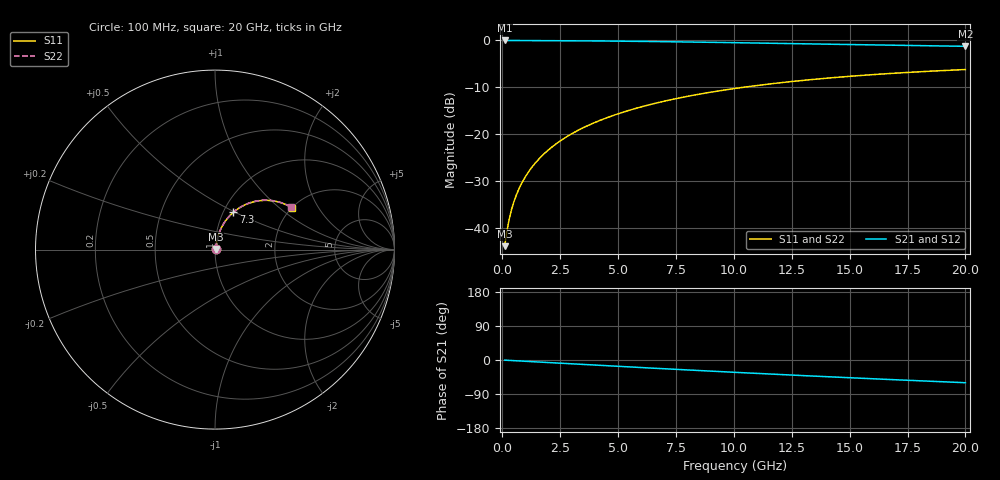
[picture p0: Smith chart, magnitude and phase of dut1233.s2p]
! Touchstone file exported from HFSS 2026.1.0
!  File:  C:/ffzhzh/LocalFiles/Ansys_Project_Files/temp_train_TMRDL_1233_1783163524_22436.aedt
!  Generated:  07:13:39 PM Jul  4, 2026
!  Design:  TMRDL
!  Project:  temp_train_TMRDL_1233_1783163524_22436
! Variables:
!  h_bsmrdl = 2um
!  h_ox = 20um
!  h_rdl = 5um
!  h_sub = 80um
!  h_tmrdl = 2.42um
!  h_tsv = 80um
!  h_via = 3um
!  l_bsmrdl = 300um
!  l_sub = 1326.83um
!  l_tmrdl = 926.83um
!  m_sub = 200um
!  pitch = 57.89um
!  r_tsv = 6um
!  s_tmrdl = 10um
!  w_bsmrdl = 18um
!  w_sub = 500um
!  w_tmrdl = 28.29um
!  x_tsv_center1 = 940.975um
!  x_tsv_center2 = 1258.975um
!  x_tsv_center3 = 2214.095um
!  x_tsv_center4 = 2532.095um
!  x_tsv_center5 = 3487.215um
!  x_tsv_center6 = 3805.215um
# GHz S MA R 50.000000
! Terminal data exported
! Port[1] = TM_RDL1_1_T1
! Port[2] = TM_RDL1_1_T2
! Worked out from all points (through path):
!   200 points, 100 MHz to 20 GHz, reference 50 ohm
!   highest |S21| = -0.04 dB at 100 MHz (marker M1); lowest = -1.3 dB at 20 GHz (marker M2)
!   group delay of S21, straight-line fit = 8.34 ps
!   lowest |S11| = -44.0 dB at 100 MHz (marker M3), VSWR 1.01, Z = 50.5 + j0.378 ohm
!   |S11| at or under -10 dB: start of sweep to 10.48 GHz
!   |S22| runs from -44.0 to -6.3 dB; largest |S21 - S12| = 3.4e-15
!   S11 on the Smith chart (normalised r, x): 100 MHz: 1.01, +0.01; 7.3 GHz: 1.12, +0.49; 20 GHz: 2.00, +1.22
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0.1  0.006333 36.2  0.9949 -0.4  0.9949 -0.4  0.006333 36.2
! Gamma 0 0 0 0
! Port Impedance 50 0 50 0
0.2  0.009151 53.9  0.9947 -0.7  0.9947 -0.7  0.009151 53.9
0.3  0.01234 62.1  0.9944 -1.1  0.9944 -1.1  0.01234 62.1
0.4  0.01559 66.6  0.9941 -1.4  0.9941 -1.4  0.01559 66.6
0.5  0.01883 69.4  0.9938 -1.7  0.9938 -1.7  0.01883 69.5
0.6  0.02206 71.5  0.9935 -2.1  0.9935 -2.1  0.02206 71.5
0.8  0.02852 74.0  0.9931 -2.7  0.9931 -2.7  0.02852 74.1
1.1  0.03826 76.1  0.9925 -3.8  0.9925 -3.8  0.03826 76.1
1.3  0.04479 76.8  0.9922 -4.4  0.9922 -4.4  0.04479 76.8
1.6  0.05462 77.2  0.9916 -5.4  0.9916 -5.4  0.05462 77.3
2.1  0.07103 77.1  0.9904 -7.1  0.9904 -7.1  0.07102 77.2
2.7  0.09065 76.3  0.9886 -9.1  0.9886 -9.1  0.09065 76.3
3.5  0.1166 74.5  0.9857 -11.8  0.9857 -11.8  0.1166 74.6
4.2  0.1389 72.7  0.9826 -14.1  0.9826 -14.1  0.1389 72.8
5  0.1639 70.5  0.9785 -16.7  0.9785 -16.7  0.1639 70.6
6.8  0.218 65.2  0.9673 -22.5  0.9673 -22.5  0.218 65.3
7.3  0.2324 63.7  0.9638 -24.1  0.9638 -24.1  0.2323 63.8
8.6  0.2683 59.8  0.954 -28.2  0.954 -28.2  0.2683 59.9
10.1  0.307 55.4  0.9418 -32.7  0.9418 -32.7  0.307 55.5
13.4  0.3814 45.9  0.9135 -42.4  0.9135 -42.4  0.3813 46.1
16.7  0.441 37.0  0.8859 -51.4  0.8859 -51.4  0.4409 37.3
20  0.4867 28.6  0.8616 -60.0  0.8616 -60.0  0.4866 28.9
